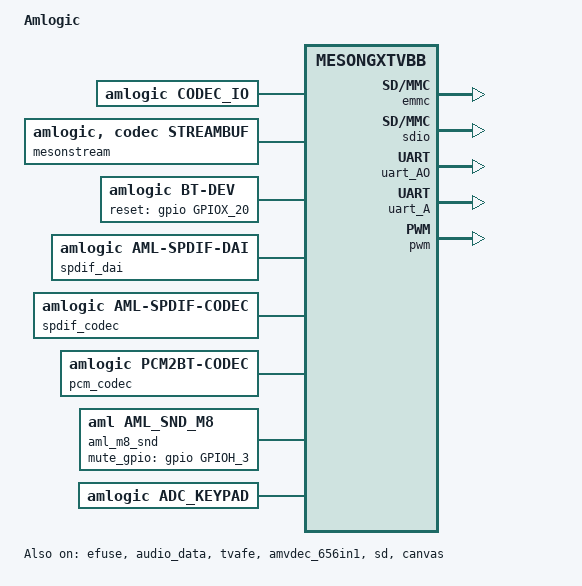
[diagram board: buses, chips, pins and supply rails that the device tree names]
/*
 * Amlogic Ltd. GXBaby Plaform
 *
 */

/dts-v1/;

#include <dt-bindings/interrupt-controller/arm-gic.h>
#include <dt-bindings/clock/gxtvbb.h>
#include <dt-bindings/gpio/gxtvbb.h>
#include <dt-bindings/gpio/gpio.h>
#include <dt-bindings/reset/aml_gxtvbb.h>
#include <dt-bindings/pwm/pwm.h>
#include <dt-bindings/pwm/meson.h>
#include "mesongxtvbb.dtsi"

/ {
	model = "Amlogic";
	compatible = "amlogic, gxtvbb";
	interrupt-parent = <&gic>;
	#address-cells = <2>;
	#size-cells = <2>;

	aliases {
		serial0 = &uart_AO;
		serial1 = &uart_A;
	};

	memory@00000000 {
		device_type = "memory";
		linux,usable-memory = <0x0 0x1000000 0x0 0x3f000000>;
	};

	reserved-memory {
		#address-cells = <2>;
		#size-cells = <2>;
		ranges;
		/* global autoconfigured region for contiguous allocations */
		secmon_reserved:linux,secmon {
			compatible = "amlogic, aml_secmon_memory";
			reg = <0x0 0x10000000 0x0 0x200000>;
			no-map;
		};
		secos_reserved:linux,secos {
			status = "disable";
			compatible = "amlogic, aml_secos_memory";
			reg = <0x0 0x05300000 0x0 0x2000000>;
			no-map;
		};
		/*fb_reserved:linux,meson-fb {
			compatible = "amlogic, fb-memory";
			size = <0x0 0x2000000>;
			no-map;
		};*/
		/*di reserved mem*/
		di_reserved:linux,di {
			compatible = "amlogic, di-mem";
			/* buffer_size = 3552320(yuv422 8bit) | 4596800(yuv422 10bit) | 4074560(yuv422 10bit full pack mode) */
			/** 10x3552320=34M(0x22) support 8bit **/
			/** 10x44596800=44M(0x2c) support 12bit **/
			/** 10x4074560=39M(0x27) support 10bit **/
			size = <0x0 0x2c00000>;
			//no-map;
		};
		/*di CMA pool */
		//di_cma_reserved:linux,di_cma {
			//compatible = "shared-dma-pool";
			//reusable;
			/* buffer_size = 3552320(yuv422 8bit) | 44596800(yuv422 10bit) | 4074560(yuv422 10bit full pack mode) */
			/** 10x3552320=34M(0x22) support 8bit **/
			/** 10x44596800=44M(0x2c) support 12bit **/
			/** 10x4074560=39M(0x27) support 10bit **/
			//size = <0x0 0x03000000>;
			//alignment = <0x0 0x400000>;
		//};


		ion_reserved:linux,ion-dev {
			compatible = "amlogic, idev-mem";
			//size = <0x0 0x4000000>;
			/* the most significant 64M memory reserved for ion */
			reg = <0x0 0x3c000000 0x0 0x4000000>; /* for 1G memory */
			//reg = <0x0 0x5c000000 0x0 0x4000000>; /* for 1.5G memory*/
			//reg = <0x0 0x7c000000 0x0 0x4000000>; /* for 2G memory */
		};

		/*  vdin0 */
		vdin0_reserved:linux,vdin0 {
			compatible = "amlogic, vdin_memory";
			/* 1920x1080x2x4  =17M */
			size = <0x0 0x01000000>;
		};
		 /*  vdin1 */
		vdin1_reserved:linux,vdin1 {
			compatible = "amlogic, vdin_memory";
			/* 1920x1080x2x4  =17M */
			size = <0x0 0x01000000>;
		};
		/*  tvafe */
		tvafe_reserved:linux,tvafe {
			compatible = "amlogic, tvafe_memory";
			/* 5M */
			size = <0x0 0x00500000>;
		};
		/*  PICDEC reserved memory */
		picdec_reserved:linux,picdec {
			compatible = "amlogic, picdec_memory";
			size = <0x0 0x1000000>;
			//no-map;
		};
		/*  POST PROCESS MANAGER */
		ppmgr_reserved:linux,ppmgr {
			compatible = "amlogic, ppmgr_memory";
			size = <0x0 0x1000000>;
		};
		/* AVC Encode CMA pool */
		avc_cma_reserved:linux,avc_cma {
			compatible = "shared-dma-pool";
			linux,phandle = <1>;
			reusable;
			size = <0x0 0x2400000>;
			alignment = <0x0 0x400000>;
			linux,contiguous-region;
		};
		/* vdec CMA pool */
		vdec_cma_reserved:linux,vdec_cma {
			compatible = "shared-dma-pool";
			linux,phandle = <2>;
			reusable;
			size = <0x0 0x12000000>;
			alignment = <0x0 0x400000>;
		};

		jpegenc_cma_reserved:linux,jpegenc_cma {
			compatible = "shared-dma-pool";
			linux,phandle = <3>;
			reusable;
			size = <0x0 0x2400000>;
			alignment = <0x0 0x400000>;
		};
	};

	meson-vout {
		compatible = "amlogic, meson-vout";
		dev_name = "meson-vout";
		status = "okay";
	};
	meson-fb {
		compatible = "amlogic, meson-fb";
		/*memory-region = <&fb_reserved>;*/
		dev_name = "meson-fb";
		status = "okay";
		interrupts = <0 3 1
			0 89 1>;
		interrupt-names = "viu-vsync", "rdma";
		mem_size = <0x01851000 0x00100000>; /* fb0/fb1 memory size */
		display_mode_default = "1080p60hz";
		scale_mode = <1>; /** 0:VPU free scale 1:OSD free scale 2:OSD super scale */
		// display_size_default: PAGE_ALIGN((1920*(align16(1080))/256*(256*16 + 16)+16)*3) =
		// 0x1848000 (afbc body + afbc header + 16)*3
		display_size_default = <1920 1080 1920 3240 32>;
		/*pxp_mode = <1>; /** 0:normal mode 1:pxp mode */
		pxp_mode = <1>; /** 0:normal mode 1:pxp mode */
		logo_addr = "0x3d851000"; /*ion base + fb0 memory size for uboot logo osd1*/
	};
	ge2d {
		compatible = "amlogic, ge2d";
		dev_name = "ge2d";
		status = "okay";
		interrupts = <0 150 1>;
		interrupt-names = "ge2d";
		clocks = <&clock CLK_VAPB_0>,
			<&clock CLK_GE2D>;
		clock-names = "clk_vapb_0",
				"clk_ge2d";
		resets = <&clock GCLK_IDX_GE2D>;
		reset-names = "ge2d";
	};
	codec_io {
		compatible = "amlogic, codec_io";
		#address-cells=<2>;
		#size-cells=<2>;
		ranges;
		io_cbus_base{
			reg = <0x0 0xC0800000 0x0 0xb00000>;
		};
		io_dos_base{
			reg = <0x0 0xc8820000 0x0 0x10000>;
		};
		io_hiubus_base{
			reg = <0x0 0xc883c000 0x0 0x2000>;
		};
		io_aobus_base{
			reg = <0x0 0xc8100000 0x0 0x100000>;
		};
		io_vcbus_base{
			reg = <0x0 0xd0100000 0x0 0x40000>;
		};
		io_dmc_base{
			reg = <0x0 0xc8838000 0x0 0x2000>;
		};
	};

	mesonstream {
		compatible = "amlogic, codec, streambuf";
		dev_name = "mesonstream";
		status = "okay";
		resets = <&clock GCLK_IDX_HIU_PARSER_TOP
			&clock GCLK_IDX_VPU_INTR
			&clock GCLK_IDX_DEMUX
			&clock GCLK_IDX_DOS>;
		reset-names = "parser_top",
			"vpu_intr",
			"demux",
			"vdec";
	};

	amvideocap {
		compatible = "amlogic, amvideocap";
		dev_name = "amvideocap.0";
		status = "okay";
		max_size = <8>;//8M
	};

	ion_dev {
		compatible = "amlogic, ion_dev";
		memory-region = <&ion_reserved>;
	};

	vdec {
		compatible = "amlogic, vdec";
		memory-region = <&vdec_cma_reserved>;
		dev_name = "vdec.0";
		status = "okay";
		interrupts = <0 3 1
			0 23 1
			0 32 1
			0 43 1
			0 44 1
			0 45 1>;
		interrupt-names = "vsync",
			"demux",
			"parser",
			"mailbox_0",
			"mailbox_1",
			"mailbox_2";
	};
	vdin0 {
		compatible = "amlogic, vdin";
		memory-region = <&vdin0_reserved>;
		dev_name = "vdin0";
		status = "ok";
		reserve-iomap = "true";
		interrupts = <0 83 1>;
		rdma-irq = <2>;
		clocks = <&clock CLK_XTAL>,
			<&clock CLK_VID_LOCK_CLK>;
		clock-names = "xtal", "cts_vid_lock_clk";
		vdin_id = <0>;
	};
	vdin1 {
		compatible = "amlogic, vdin";
		memory-region = <&vdin1_reserved>;
		dev_name = "vdin1";
		status = "ok";
		reserve-iomap = "true";
		interrupts = <0 85 1>;
		rdma-irq = <4>;
		clocks = <&clock CLK_XTAL>,
			<&clock CLK_VID_LOCK_CLK>;
		clock-names = "xtal", "cts_vid_lock_clk";
		vdin_id = <1>;
	};

	tvafe {
		compatible = "amlogic, tvafe";
		memory-region = <&tvafe_reserved>;
		dev_name = "tvafe";
		status = "ok";
		reg = <0x0 0xc8842000 0x0 0x3ff>;
		reserve-iomap = "true";
		tvafe_id = <0>;
		pinctrl-names = "default";
		tvafe_pin_mux = < /*!!particular sequence, no more and no less!!!*/
			3	/*// TVAFE_CVBS_IN2,  //CVBS_IN0 = 0,*/
			1	/*// TVAFE_CVBS_IN0,    //CVBS_IN1,*/
			2	/*// TVAFE_CVBS_IN1,  //CVBS_IN2*/
			4	/*// TVAFE_CVBS_IN3,    //CVBS_IN3,*/
		>;
	};
	amvdec_656in1 {
		compatible = "amlogic, amvdec_656in";
		dev_name = "amvdec_656in1";
		status = "ok";
		reg = <0x0 0xd0050000 0x0 0x7c>;
		clocks = <&clock CLK_FPLL_DIV2>,
			<&clock CLK_BT656_CLK1>;
		clock-names = "fclk_div2", "cts_bt656_clk1";
		bt656_id = <1>;
	};
	aml_atv_demod {
		compatible = "amlogic, aml_atv_demod";
		dev_name = "aml_atv_demod";
		status = "okay";
		reg_23cf = <0x88188832>;/*default:0x88188832;r840 on haier:0x48188832*/
	};

	amvenc_avc{
		compatible = "amlogic, amvenc_avc";
		//memory-region = <&amvenc_avc_reserved>;
		memory-region = <&avc_cma_reserved>;
		dev_name = "amvenc_avc";
		status = "okay";
		interrupts = <0 45 1>;
		interrupt-names = "mailbox_2";
	};

	jpegenc{
		compatible = "amlogic, jpegenc";
		//memory-region = <&jpegenc_reserved>;
		memory-region = <&jpegenc_cma_reserved>;
		dev_name = "jpegenc";
		status = "okay";
		interrupts = <0 45 1>;
		interrupt-names = "mailbox_2";
	};


	vpu {
		compatible = "amlogic, vpu";
		dev_name = "vpu";
		status = "ok";
		clk_level = <7>;
		/**	0: 100.0M    1: 166.7M    2: 200.0M
			3: 250.0M    4: 333.3M    5: 400.0M
			6: 500.0M    7: 666.7M */
	};
	bt-dev{
		compatible = "amlogic, bt-dev";
		dev_name = "bt-dev";
		status = "ok";
		gpio_reset = <&gpio       GPIOX_20       GPIO_ACTIVE_HIGH>;
	};

	rtc{
		compatible = "amlogic, aml_vrtc";
		alarm_reg_addr = <0xc81000a8>;
		timer_e_addr = <0xc1109988>;
		init_date = "2015/01/01";
		status = "okay";
	};
	emmc{
		compatible = "amlogic, aml_sd_emmc";
		dev_name = "aml_newsd.0";
		status = "okay";
		reg = <0x0 0xd0074000 0x0 0x2000>;
		interrupts = <	0 218 1>;
		pinctrl-names = "emmc_clk_cmd_pins", "emmc_all_pins";
		pinctrl-0 = <&emmc_clk_cmd_pins>;
		pinctrl-1 = <&emmc_all_pins>;
		emmc{
			status = "okay";
			pinname = "emmc";
			ocr_avail = <0x200080>;          /**VDD voltage 3.3 ~ 3.4 */
			caps = "MMC_CAP_8_BIT_DATA","MMC_CAP_MMC_HIGHSPEED",
				 "MMC_CAP_SD_HIGHSPEED", "MMC_CAP_NONREMOVABLE"/*,
				 "MMC_CAP_ERASE", "MMC_CAP_HW_RESET"*/;
			//caps2 = "MMC_CAP2_HS200_1_8V_SDR";
			f_min = <400000>;
			f_max = <50000000>;
			max_req_size = <0x20000>;          /**256KB*/
			//            gpio_dat3 = "BOOT_3"
			gpio_dat3 = <&gpio       BOOT_3      GPIO_ACTIVE_HIGH>;
			card_type = <1>; /* 1:mmc card(include eMMC), 2:sd card(include tSD), */
		};
	};
    sd{
        compatible = "amlogic, aml_sd_emmc";
        dev_name = "aml_newsd.0";
        status = "okay";
        reg = <0x0 0xd0072000 0x0 0x2000>;
        interrupts = <	0 217 1
        				0 67 1
        				0 69 1>;
        pinctrl-names = "sd_clk_cmd_pins", "sd_all_pins";
        pinctrl-0 = <&sd_clk_cmd_pins>;
        pinctrl-1 = <&sd_all_pins>;
		sd{
	   		status = "okay";
	   		pinname = "sd";
	   		ocr_avail = <0x00200080>; // 3.3:0x200000, 1.8+3.3:0x00200080
	   		caps = "MMC_CAP_4_BIT_DATA","MMC_CAP_MMC_HIGHSPEED",
	   				"MMC_CAP_SD_HIGHSPEED","MMC_CAP_NONREMOVABLE";
	   				//,"MMC_CAP_UHS_SDR12",
	   				//"MMC_CAP_UHS_SDR25","MMC_CAP_UHS_SDR50",
	   				//"MMC_CAP_UHS_SDR104","MMC_CAP_NONREMOVABLE";
	   		f_min = <400000>;
	   		f_max = <100000000>;
	   		max_req_size = <0x20000>;          /**128KB*/
			gpio_dat3 = <&gpio       CARD_4       GPIO_ACTIVE_HIGH>;
			jtag_pin =  <&gpio       CARD_0       GPIO_ACTIVE_HIGH>;
			gpio_cd =  <&gpio       CARD_6       GPIO_ACTIVE_HIGH>;
	   		//irq_in = <3>;
	   		//irq_out = <5>;
	   		card_type = <5>; /* 0:unknown, 1:mmc card(include eMMC), 2:sd card(include tSD), 3:sdio device(ie:sdio-wifi), 4:SD combo (IO+mem) card, 5:NON sdio device(means sd/mmc card), other:reserved */
		};
    };
	sdio{
		compatible = "amlogic, aml_sd_emmc";
		dev_name = "aml_newsd.0";
		status = "okay";
		reg = <0x0 0xd0070000 0x0 0x2000>;
		interrupts = <	0 216 1>;
		pinctrl-names =  "sdio_clk_cmd_pins", "sdio_all_pins";
		pinctrl-0 = <&sdio_clk_cmd_pins>;
		pinctrl-1 = <&sdio_all_pins>;
		sdio{
			status = "okay";
			pinname = "sdio";
			ocr_avail = <0x00200080>;  /*3.3:0x200000, 1.8+3.3:0x00200080 */
			caps = "MMC_CAP_4_BIT_DATA","MMC_CAP_MMC_HIGHSPEED",
				"MMC_CAP_SD_HIGHSPEED", "MMC_CAP_NONREMOVABLE",
				"MMC_CAP_UHS_SDR12","MMC_CAP_UHS_SDR25",
				"MMC_CAP_UHS_SDR50","MMC_CAP_UHS_SDR104",
				"MMC_PM_KEEP_POWER";
				f_min = <400000>;
				f_max = <200000000>;
				max_req_size = <0x20000>;          /**128KB*/
				card_type = <3>;  /*3:sdio device(ie:sdio-wifi), 4:SD combo (IO+mem) card, */
		};
	};
	nand{
		compatible = "amlogic, aml_nand";
		dev_name = "nand";
		status = "disabled";
		reg = <0x0 0xd0074800 0x0 0x200>;
		interrupts = <	0 34 1 >;
		pinctrl-names = "nand_rb_mod","nand_norb_mod", "nand_cs_pins_only";
		pinctrl-0 = <&conf_nand_pulldown &conf_nand_pullup &all_nand_pins>;
		pinctrl-1 = <&conf_nand_pulldown &conf_nand_pullup &all_nand_pins>;
		pinctrl-2 = <&nand_cs_pins>;
		device_id = <0>;
		plat-names = "nandnormal";
		plat-num = <1>;
		plat-part-0 = <&normal>;
		normal: normal{
			enable_pad ="ce0","ce1","ce2","ce3";
			busy_pad = "rb0";
		};
	};
	partitions: partitions{
        parts = <10>;
		part-0 = <&logo>;
		part-1 = <&recovery>;
		part-2 = <&dtb>;
		part-3 = <&tee>;
		part-4 = <&crypt>;
		part-5 = <&misc>;
		part-6 = <&boot>;
		part-7 = <&system>;
		part-8 = <&cache>;
		part-9 = <&data>;

		logo:logo{
			pname = "logo";
			size = <0x0 0x2000000>;
			mask = <1>;
		};
		recovery:recovery{
			pname = "recovery";
			size = <0x0 0x2000000>;
			mask = <1>;
		};
		dtb:dtb{
			pname = "dtb";
			size = <0x0 0x800000>;
			mask = <1>;
		};
		tee:tee{
			pname = "tee";
			size = <0x0 0x800000>;
			mask = <1>;
		};
		crypt:crypt{
			pname = "crypt";
			size = <0x0 0x2000000>;
			mask = <1>;
		};
		misc:misc{
			pname = "misc";
			size = <0x0 0x2000000>;
			mask = <1>;
		};
		boot:boot
		{
			pname = "boot";
			size = <0x0 0x2000000>;
			mask = <1>;
		};
		system:system
		{
			pname = "system";
			size = <0x0 0x40000000>;
			mask = <1>;
		};
		cache:cache
		{
			pname = "cache";
			size = <0x0 0x20000000>;
			mask = <2>;
		};
		data:data
		{
			pname = "data";
			size = <0xffffffff 0xffffffff>;
			mask = <4>;
		};
	};
	amhdmitx: amhdmitx{
		compatible = "amlogic, amhdmitx";
		dev_name = "amhdmitx";
		status = "okay";
		pinctrl-names="hdmitx_hpd", "hdmitx_ddc";
		pinctrl-0=<&hdmitx_hpd>;
		pinctrl-1=<&hdmitx_ddc>;
		vend-data = <&vend_data>;
		/* HPD, 57 + 32 = 89; CEC, 151 + 32 = 183*/
		interrupts = <0 57 1>;
		interrupt-names = "hdmitx_hpd";
		clocks = <&clock CLK_HDMITX_SYS &clock CLK_HDMITX_ENCP
			&clock CLK_HDMITX_ENCI &clock CLK_HDMITX_PIXEL
			&clock CLK_HDMITX_PHY &clock CLK_VID>;
		clock-names = "hdmitx_clk_sys", "hdmitx_clk_encp", "hdmitx_clk_enci",
			"hdmitx_clk_pixel", "hdmitx_clk_phy", "hdmitx_clk_vid";

		vend_data: vend_data{
			compatible = "amlogic, amlogic-cec";
			status = "okay";
			vendor_name = "Amlogic"; /* Max Chars: 8     */
			vendor_id = <0x000000>; /* Refer to http://standards.ieee.org/develop/regauth/oui/oui.txt   */
			product_desc = "GXBB Mbox"; /* Max Chars: 16    */
			cec_osd_string = "MBox"; /* Max Chars: 14    */
			interrupts = <0 199 1>;
			interrupt-names = "hdmitx_cec";
			pinctrl-names = "hdmitx_aocec";
			pinctrl-0=<&hdmitx_aocec>;
		};
	};
	tvout {
		compatible = "amlogic, tvout";
		dev_name = "tvout";
		status = "disabled";
	};

	uart_AO: serial@c81004c0 {
		compatible = "amlogic, meson-uart";
		reg = <0x0 0xc81004c0 0x0 0x14>;
		interrupts = <0 193 1>;
		status = "okay";
		clocks = <&clock CLK_XTAL>;
		clock-names = "clk_uart";
		fifosize = < 64 >;
		pinctrl-names = "default";
		pinctrl-0 = <&ao_a_uart_pins>;
		support-sysrq = <0>;	/* 0 not support , 1 support */
	};

	uart_A: serial@c11084c0 {
		compatible = "amlogic, meson-uart";
		reg = <0x0 0xc11084c0 0x0 0x14>;
		interrupts = <0 26 1>;
		status = "okay";
		clocks = <&clock CLK_XTAL>;
		clock-names = "clk_uart";
		fifosize = < 128 >;
		pinctrl-names = "default";
		pinctrl-0 = <&a_uart_pins>;
	};


	canvas{
		compatible = "amlogic, meson, canvas";
		dev_name = "amlogic-canvas";
		status = "ok";
		reg = <0x0 0xc8838000 0x0 0x400>;
	};

	rdma{
		compatible = "amlogic, meson, rdma";
		dev_name = "amlogic-rdma";
		status = "ok";
		interrupts = <0 89 1>;
		interrupt-names = "rdma";
	};

	/* AUDIO MESON8 DEVICES */
	i2s_dai: I2S {
		#sound-dai-cells = <0>;
		resets = <
			&clock GCLK_IDX_AIU_AI_TOP_GLUE
			&clock GCLK_IDX_AUD_BUF_ABD
			&clock GCLK_IDX_AIU_I2S_OUT
			&clock GCLK_IDX_AIU_AMCLK_MEASURE
			&clock GCLK_IDX_AIU_AIFIFO2
			&clock GCLK_IDX_AIU_AUD_MIXER
			&clock GCLK_IDX_AIU_MIXER_REG
			&clock GCLK_IDX_AIU_ADC
			&clock GCLK_IDX_AIU_TOP_LEVEL
			&clock GCLK_IDX_AIU_AOCLK
			&clock GCLK_IDX_AUD_IN
		>;
		reset-names =
			"top_glue",
			"aud_buf",
			"i2s_out",
			"amclk_measure",
			"aififo2",
			"aud_mixer",
			"mixer_reg",
			"adc",
			"top_level",
			"aoclk",
			"aud_in";
		clocks = <&clock CLK_MPLL2>,
			<&clock CLK_AMCLK>;
		clock-names = "mpll2", "mclk";
		compatible = "amlogic, aml-i2s-dai";
	};
	spdif_dai: SPDIF {
		#sound-dai-cells = <0>;
		compatible = "amlogic, aml-spdif-dai";
		resets = <
			&clock GCLK_IDX_AIU_IEC958
			&clock GCLK_IDX_AIU_ICE958_AMCLK
		>;
		reset-names =
			"iec958",
			"iec958_amclk";
		clocks = <&clock CLK_MPLL1>,
			<&clock CLK_I958>,
			<&clock CLK_AMCLK>,
			<&clock CLK_SPDIF>,
			<&clock CLK_81>;
		clock-names = "mpll1", "i958", "mclk", "spdif", "clk_81";
	};
	pcm_dai: PCM {
		#sound-dai-cells = <0>;
		compatible = "amlogic, aml-pcm-dai";
		pinctrl-names = "aml_audio_btpcm";
		pinctrl-0 = <&audio_btpcm_pins>;
		clocks = <&clock CLK_MPLL0>,
			<&clock CLK_PCM_MCLK>,
			<&clock CLK_PCM_SCLK>;
		clock-names = "mpll0", "pcm_mclk", "pcm_sclk";
		pcm_mode = <1>;	/* 0=slave mode, 1=master mode */
	};
	i2s_plat: i2s_platform {
		compatible = "amlogic, aml-i2s";
		interrupts = <0 29 1>;
	};
	pcm_plat: pcm_platform {
		compatible = "amlogic, aml-pcm";
	};
	spdif_codec: spdif_codec{
		#sound-dai-cells = <0>;
		compatible = "amlogic, aml-spdif-codec";
		pinctrl-names = "aml_audio_spdif";
		pinctrl-0 = <&audio_spdif_pins>;
	};
	pcm_codec: pcm_codec{
		#sound-dai-cells = <0>;
		compatible = "amlogic, pcm2BT-codec";
	};
	/* endof AUDIO MESON8 DEVICES */

	/* AUDIO board specific */
	dummy_codec:dummy{
		#sound-dai-cells = <0>;
		compatible = "amlogic, aml_dummy_codec";
		status = "okay";
	};
	aml_m8_snd {
		compatible = "aml, aml_snd_m8";
		status = "okay";
		aml-sound-card,format = "i2s";
		aml_sound_card,name = "AML-M8AUDIO";
		aml,audio-routing =
				"Ext Spk","LOUTL",
				"Ext Spk","LOUTR";

		mute_gpio-gpios = <&gpio GPIOH_3 0>;
		hp_disable;
		hp_paraments = <800 300 0 5 1>;
		pinctrl-names = "aml_snd_m8";
		pinctrl-0 = <&audio_pins>;
		cpu_list = <&cpudai0 &cpudai1 &cpudai2>;
		codec_list = <&codec0 &codec1 &codec2>;
		plat_list = <&i2s_plat &i2s_plat &pcm_plat>;
		cpudai0: cpudai0 {
			sound-dai = <&i2s_dai>;
		};
		cpudai1: cpudai1 {
			sound-dai = <&spdif_dai>;
		};
		cpudai2: cpudai2 {
			sound-dai = <&pcm_dai>;
		};
		codec0: codec0 {
			sound-dai = <&dummy_codec>;
		};
		codec1: codec1 {
			sound-dai = <&spdif_codec>;
		};
		codec2: codec2 {
			sound-dai = <&pcm_codec>;
		};
	};
	/* END OF AUDIO board specific */

	pwm {
		compatible = "amlogic, meson-pwm";
		status = "okay";
		pwm-outputs 	= <PWM_A>,<PWM_B>,<PWM_C>,<PWM_D>,
			      	  <PWM_E>,<PWM_F>,<PWM_AO_A>,<PWM_AO_B>;
		pwm-outputs-new = <PWM_A>,<PWM_B>,<PWM_C>,<PWM_D>,
				  <PWM_E>,<PWM_F>,<PWM_AO_A>,<PWM_AO_B>,
			          <PWM_A2>,<PWM_B2>,<PWM_C2>,<PWM_D2>,
			          <PWM_E2>,<PWM_F2>,<PWM_AO_A2>,<PWM_AO_B2>;
		reg = <0x0 0xc1108550 0x0 0x30>,
		      <0x0 0xc8100550  0x0 0x10>;
		clocks = <&clock CLK_XTAL>,
			 <&clock CLK_VID_PLL>,
			 <&clock CLK_FPLL_DIV4>,
			 <&clock CLK_FPLL_DIV3>;
		clock-names = "xtal",
			      "vid_pll_clk",
			      "fclk_div4",
			      "fclk_div3";
		clock-select = <XTAL_CLK>,<XTAL_CLK>,<XTAL_CLK>,<XTAL_CLK>,
			       	   <XTAL_CLK>,<XTAL_CLK>,<XTAL_CLK>,<XTAL_CLK>;
		clock-select-new = <XTAL_CLK>,<XTAL_CLK>,<XTAL_CLK>,<XTAL_CLK>,
		                   <XTAL_CLK>,<XTAL_CLK>,<XTAL_CLK>,<XTAL_CLK>,
		                   <XTAL_CLK>,<XTAL_CLK>,<XTAL_CLK>,<XTAL_CLK>,
		                   <XTAL_CLK>,<XTAL_CLK>,<XTAL_CLK>,<XTAL_CLK>;
		                   /*all channels use the default clock source XTAL_CLK*/
		                   /*and you can shoose it in file dt-bindings/pwm/meson.h*/
	};

	adc_keypad{
		compatible = "amlogic, adc_keypad";
		status = "okay";
		key_name = "menu", "vol-","vol+", "esc", "home", "left", "right";
		key_num = <7>;
		key_code = <139 114 115 1 102 105 106>;
		key_chan = <2 2 2 2 3 3 3>;
		key_val = <0 143 271 393 0 143 271>; //voltage=0/252/478/692/824mV, val=voltage/1800mV*1023
		key_tolerance = <40 40 40 40 40 40 40>;
	};
};
	&i2c_ao {
		status = "disabled";
		pinctrl-names="default";
		pinctrl-0=<&ao_i2c_master>;
	};

	&i2c_a {
		status = "disabled";
		pinctrl-names="default";
		pinctrl-0=<&a_i2c_master>;
	};

	&i2c_b {
		status = "disabled";
		pinctrl-names="default";
		pinctrl-0=<&b_i2c_master>;
	};
	&i2c_c {
		status = "disabled";
		pinctrl-names="default";
		pinctrl-0=<&c_i2c_master>;
	};
	&i2c_d {
		status = "disabled";
		pinctrl-names="default";
		pinctrl-0=<&d_i2c_master>;
	};
&pinmux {
	audio_pins:audio_pin{
		amlogic,setmask=<AO 0x78000000>;
		amlogic,clrmask=<AO 0x50000>;
		amlogic,pins = "GPIOAO_8","GPIOAO_9","GPIOAO_10","GPIOAO_11","GPIOAO_6";
	};

	audio_spdif_pins:audio_pin1{
		amlogic,setmask=<AO 0x10>;		/*spdif_out*/
		amlogic,clrmask=<AO 0x8
					AO2 0x80000002>;	/*spdif_out*/
		amlogic,pins ="GPIOAO_13";		  /*spdif_out*/
	};

	audio_btpcm_pins:audio_btpcm_pins{
		/* BT PCM PINMUX SETTING*/
		amlogic,setmask=<1 0x3c0000>;
		amlogic,clrmask=<1 0x3C000000>;
		amlogic,pins ="GPIOX_4", "GPIOX_5", "GPIOX_6", "GPIOX_7";
	};
};
&efuse {
	status = "okay";
};
&audio_data{
	status = "okay";
};
